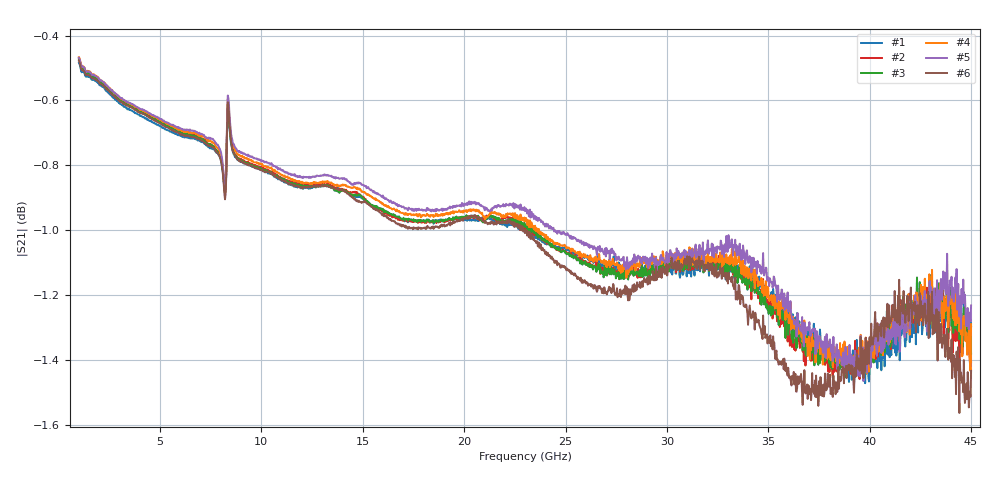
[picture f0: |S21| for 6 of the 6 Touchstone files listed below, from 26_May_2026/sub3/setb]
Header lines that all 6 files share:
!Keysight Technologies,N5247B,MY61255062,A.19.80.06
!Correction: S11(C  2-Port  )
!S21(C  2-Port  )
!S12(C  2-Port  )
!S22(C  2-Port  )
!S2P File: Measurements: S11, S21, S12, S22:
# Hz S  dB  R 50
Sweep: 1 GHz to 45 GHz
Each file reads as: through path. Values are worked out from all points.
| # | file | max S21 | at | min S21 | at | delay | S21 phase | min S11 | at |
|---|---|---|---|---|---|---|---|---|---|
| 1 | tn1.s2p | -0.48 dB | 1 GHz | -1.5 dB | 39.23 GHz | 56.3 ps | -108 deg at 23 GHz | -56.6 dB | 8.425 GHz |
| 2 | tn2.s2p | -0.47 dB | 1 GHz | -1.5 dB | 39.5 GHz | 56.4 ps | -109 deg at 23 GHz | -54.0 dB | 9.168 GHz |
| 3 | tn3.s2p | -0.47 dB | 1 GHz | -1.5 dB | 38.84 GHz | 56.4 ps | -109 deg at 23 GHz | -59.5 dB | 9.085 GHz |
| 4 | tn4.s2p | -0.47 dB | 1 GHz | -1.4 dB | 39.31 GHz | 56.3 ps | -108 deg at 23 GHz | -50.5 dB | 8.37 GHz |
| 5 | tn5.s2p | -0.47 dB | 1 GHz | -1.5 dB | 39.69 GHz | 56.3 ps | -108 deg at 23 GHz | -64.3 dB | 8.838 GHz |
| 6 | tn6.s2p | -0.48 dB | 1 GHz | -1.6 dB | 44.42 GHz | 56.8 ps | -113 deg at 23 GHz | -55.8 dB | 21.13 GHz |
